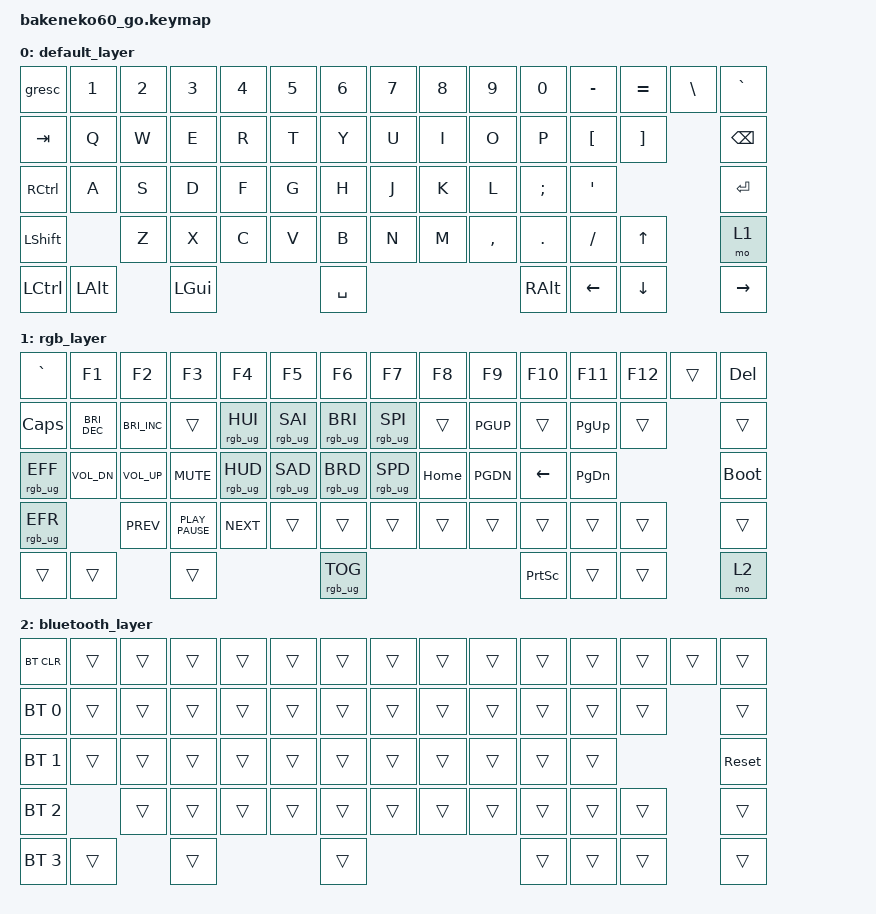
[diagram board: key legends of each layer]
/*
 * Copyright (c) 2023 Andrew Kannan
 *
 * SPDX-License-Identifier: MIT
 */

#include <behaviors.dtsi>
#include <dt-bindings/zmk/bt.h>
#include <dt-bindings/zmk/keys.h>
#include <dt-bindings/zmk/rgb.h>

/ {
    keymap {
        compatible = "zmk,keymap";

        default_layer {
            // ------------------------------------------------------------------------------------------
            // | ESC |  1  |  2  |  3  |  4  |  5  |  6  |  7  |  8  |  9  |  0  |  -  |  =  | BKSP|BKSP|
            // | TAB  |  Q  |  W  |  E  |  R  |  T  |  Y  |  U  |  I  |  O  |  P  |  [  |  ]  |   "|"   |
            // | CAPS  |  A  |  S  |  D  |  F  |  G  |  H  |  J  |  K  |  L  |  ;  |  '  |     ENTER    |
            // |  SHIFT  |  Z  |  X  |  C  |  V  |  B  |  N  |  M  |  ,  |  .  |  /  |  SHIFT  | MO(1)  |
            // |  CTL  |  WIN  |  ALT  |            SPACE              |  ALT  |  WIN  |  MO(1) |  CTL  |
            // ------------------------------------------------------------------------------------------

            bindings = <
&gresc             &kp N1        &kp N2  &kp N3        &kp N4  &kp N5  &kp N6     &kp N7  &kp N8  &kp N9     &kp N0    &kp MINUS       &kp EQUAL       &kp BSLH  &kp GRAVE
&kp TAB            &kp Q         &kp W   &kp E         &kp R   &kp T   &kp Y      &kp U   &kp I   &kp O      &kp P     &kp LBKT        &kp RBKT                  &kp BACKSPACE
&kp RIGHT_CONTROL  &kp A         &kp S   &kp D         &kp F   &kp G   &kp H      &kp J   &kp K   &kp L      &kp SEMI  &kp SQT                                   &kp RET
&kp LSHFT                        &kp Z   &kp X         &kp C   &kp V   &kp B      &kp N   &kp M   &kp COMMA  &kp DOT   &kp FSLH        &kp UP_ARROW              &mo 1
&kp LCTRL          &kp LEFT_ALT          &kp LEFT_GUI                  &kp SPACE                             &kp RALT  &kp LEFT_ARROW  &kp DOWN_ARROW            &kp RIGHT
            >;
        };

        rgb_layer {
            // ------------------------------------------------------------------------------------------------
            // |    `   | F1  | F2  | F3  | F4  | F5  | F6  | F7  | F8  | F9  | F10  | F11 | F12 |     | DEL  |
            // | EFCT REV|   |  UP |   | HUEUP | SATUP | BRIUP | SPDUP |      |  PGUP |    |     |    |       |
            // | EFCT FWD | LT |  DN  | RT | HUEDN | SATDN | BRIDN | SPDDN | HOME | PGDN | END  |  | BOOTLDR  |
            // |             |     |      |      |     |     |     |     |     |     |     |         |        |
            // |         |      |      |             TOG RGB                | PRT SCR |       |       |  MO(2)|
            // ------------------------------------------------------------------------------------------------

            bindings = <
&kp GRAVE        &kp F1         &kp F2                &kp F3            &kp F4           &kp F5           &kp F6           &kp F7           &kp F8    &kp F9    &kp F10         &kp F11        &kp F12  &trans  &kp DEL
&kp CAPS         &kp C_BRI_DEC  &kp C_BRIGHTNESS_INC  &trans            &rgb_ug RGB_HUI  &rgb_ug RGB_SAI  &rgb_ug RGB_BRI  &rgb_ug RGB_SPI  &trans    &kp PGUP  &trans          &kp PAGE_UP    &trans           &trans
&rgb_ug RGB_EFF  &kp C_VOL_DN   &kp C_VOLUME_UP       &kp K_MUTE        &rgb_ug RGB_HUD  &rgb_ug RGB_SAD  &rgb_ug RGB_BRD  &rgb_ug RGB_SPD  &kp HOME  &kp PGDN  &kp LEFT_ARROW  &kp PAGE_DOWN                   &bootloader
&rgb_ug RGB_EFR                 &kp K_PREV            &kp K_PLAY_PAUSE  &kp C_NEXT       &trans           &trans           &trans           &trans    &trans    &trans          &trans         &trans           &trans
&trans           &trans                               &trans                                              &rgb_ug RGB_TOG                                       &kp PSCRN       &trans         &trans           &mo 2
            >;
        };

        bluetooth_layer {
            // ------------------------------------------------------------------------------------------------
            // | BT CLR |     |     |     |     |     |     |     |     |     |     |    |    |       |       |
            // |  BT 1   |   |     |   |       |       |       |       |   |     |    |     |     |           |
            // |   BT 2   |    |      |    |       |       |       |       |      |      |      |  |   Reset  |
            // |    BT 3     |     |      |      |     |     |     |     |     |     |     |         |        |
            // |   BT 4  |      |      |                                    |         |       |       |       |
            // ------------------------------------------------------------------------------------------------

            bindings = <
&bt BT_CLR    &trans  &trans  &trans  &trans  &trans  &trans  &trans  &trans  &trans  &trans  &trans  &trans  &trans  &trans
&bt BT_SEL 0  &trans  &trans  &trans  &trans  &trans  &trans  &trans  &trans  &trans  &trans  &trans  &trans          &trans
&bt BT_SEL 1  &trans  &trans  &trans  &trans  &trans  &trans  &trans  &trans  &trans  &trans  &trans                  &sys_reset
&bt BT_SEL 2          &trans  &trans  &trans  &trans  &trans  &trans  &trans  &trans  &trans  &trans  &trans          &trans
&bt BT_SEL 3  &trans          &trans                  &trans                          &trans  &trans  &trans          &trans
            >;
        };
    };

    combos {
        compatible = "zmk,combos";

        combo_bt {
            timeout-ms = <50>;
            key-positions = <61 62>;
            bindings = <&mo 2>;
        };
    };
};
